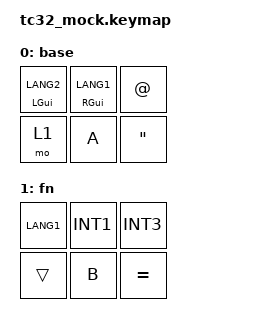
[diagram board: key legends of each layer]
/*
 * SPDX-License-Identifier: GPL-3.0-or-later
 */

/*
 * Plain ZMK keymap for the TC32 build check: mod-taps that send LANG2/LANG1
 * on tap and GUI on hold, a momentary layer, and the JIS INT1/INT3 keys.
 */
#include <behaviors.dtsi>
#include <dt-bindings/zmk/keys.h>

/ {
    keymap {
        compatible = "zmk,keymap";

        base {
            bindings = <
                &mt LEFT_GUI LANG2  &mt RIGHT_GUI LANG1  &kp AT_SIGN
                &mo 1               &kp A                &kp DOUBLE_QUOTES
            >;
        };

        fn {
            bindings = <
                &kp LANG1         &kp INT1  &kp INT3
                &trans            &kp B     &kp EQUAL
            >;
        };
    };
};
